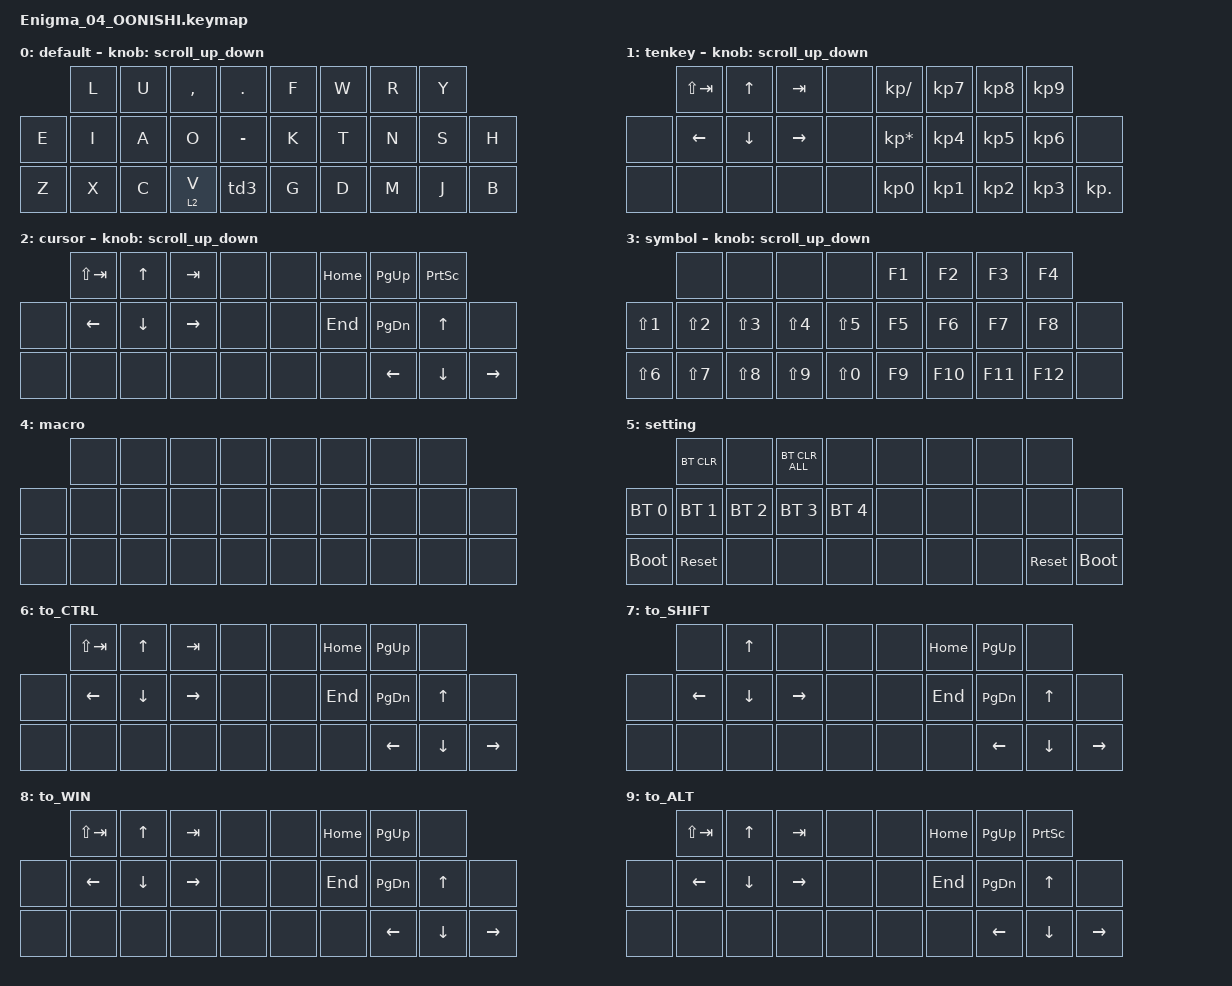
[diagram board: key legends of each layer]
#include <behaviors.dtsi>
#include <dt-bindings/zmk/bt.h>
#include <dt-bindings/zmk/keys.h>
#include <dt-bindings/zmk/pointing.h>

#undef ZMK_POINTING_DEFAULT_SCRL_VAL
#define ZMK_POINTING_DEFAULT_SCRL_VAL 100

/ {
    // zmk-listeners

    layer_listeners {
        compatible = "zmk,layer-listeners";

        release_ctrl {
            layers = <6>;
            bindings = <&kt_on LCTRL &kt_off LCTRL>;
        };

        release_shift {
            layers = <7>;
            bindings = <&kt_on LEFT_SHIFT &kt_off LEFT_SHIFT>;
        };

        release_win {
            layers = <8>;
            bindings = <&kt_on LEFT_WIN &kt_off LEFT_WIN>;
        };

        release_alt {
            layers = <9>;
            bindings = <&kt_on LEFT_ALT &kt_off LEFT_ALT>;
        };
    };

    macros {
        // zmk-listeners

        to_kp: to_kp {
            compatible = "zmk,behavior-macro-two-param";
            #binding-cells = <2>;
            bindings = <&macro_param_1to1 &to MACRO_PLACEHOLDER &macro_param_2to1 &kp MACRO_PLACEHOLDER>;
            label = "to_kp";
        };

        // zmk-listeners

        mo_to_0: mo_to_0 {
            compatible = "zmk,behavior-macro-one-param";
            wait-ms = <0>;
            tap-ms = <0>;
            #binding-cells = <1>;
            bindings =
                <&macro_press>,
                <&macro_param_1to1 &mo MACRO_PLACEHOLDER>,
                <&macro_tap>,
                <&macro_pause_for_release>,
                <&macro_release>,
                <&macro_param_1to1 &mo MACRO_PLACEHOLDER>,
                <&macro_tap>,
                <&to 0>;

            label = "MO_to_0";
        };
    };

    behaviors {
        // Layout shift

        original_key_press: original_key_press {
            compatible = "zmk,behavior-key-press";
            #binding-cells = <1>;
            label = "KEY_PRESS";
        };

        // Layout shift

        kp: key_press {
            compatible = "zmk,behavior-layout-shift-key-press";
            #binding-cells = <1>;
            label = "LAYOUT_SHIFT_KEY_PRESS";
        };

        // zmk-listeners

        kt_on: key_toggle_on_only {
            compatible = "zmk,behavior-key-toggle";
            #binding-cells = <1>;
            display-name = "Key Toggle On";
            toggle-mode = "on";
        };

        // zmk-listeners

        kt_off: key_toggle_off_only {
            compatible = "zmk,behavior-key-toggle";
            #binding-cells = <1>;
            display-name = "Key Toggle Off";
            toggle-mode = "off";
        };

        // zmk-listeners

        lt_to_0: lt_to_0 {
            compatible = "zmk,behavior-hold-tap";
            label = "LT_to_0";
            bindings = <&mo_to_0>, <&kp>;

            #binding-cells = <2>;
            tapping-term-ms = <200>;
            quick-tap-ms = <200>;
            flavor = "balanced";
        };

        // rotary encoder

        scroll_up_down: mouse_wheel_up_down {
            compatible = "zmk,behavior-sensor-rotate";
            #sensor-binding-cells = <0>;
            bindings = <&msc SCRL_UP>, <&msc SCRL_DOWN>;

            tap-ms = <50>;
        };

        // rotary encoder

        scroll_left_right: mouse_wheel_left_right {
            compatible = "zmk,behavior-sensor-rotate";
            #sensor-binding-cells = <0>;
            bindings = <&msc SCRL_LEFT>, <&msc SCRL_RIGHT>;

            tap-ms = <50>;
        };

        // rotary encoder

        arrow_left_right: arrow_left_right {
            compatible = "zmk,behavior-sensor-rotate";
            #sensor-binding-cells = <0>;
            bindings = <&kp LEFT>, <&kp RIGHT>;

            tap-ms = <50>;
        };

        // rotary encoder

        arrow_up_down: arrow_up_down {
            compatible = "zmk,behavior-sensor-rotate";
            #sensor-binding-cells = <0>;
            bindings = <&kp UP>, <&kp DOWN>;

            tap-ms = <50>;
        };

        // rotary encoder

        page_up_down: page_up_down {
            compatible = "zmk,behavior-sensor-rotate";
            #sensor-binding-cells = <0>;
            bindings = <&kp PAGE_UP>, <&kp PAGE_DOWN>;

            tap-ms = <50>;
        };

        td1: td_hz_mo_kn {
            compatible = "zmk,behavior-tap-dance";
            label = "TD_HZ_MO_KN";
            #binding-cells = <0>;
            bindings = <&lt 9 TILDE>;
        };

        td2: td_f7_mo_f8 {
            compatible = "zmk,behavior-tap-dance";
            label = "TD_F7_MO_F8";
            #binding-cells = <0>;
            bindings = <&lt 9 F7>, <&kp F8>;
        };

        td3: td_space_mo_slash {
            compatible = "zmk,behavior-tap-dance";
            label = "TD_SPACE_MO_SLASH";
            #binding-cells = <0>;
            bindings = <&lt 1 SPACE>, <&kp SLASH>;
        };

        td4: coron_semicoron {
            compatible = "zmk,behavior-tap-dance";
            label = "TD_COLON_SEMICOLON";
            #binding-cells = <0>;
            bindings = <&kp COLON>, <&kp SEMICOLON>;
        };

        Ctl: td_ctrl_toctrl {
            compatible = "zmk,behavior-tap-dance";
            label = "td_CTRL_TOCTRL";
            #binding-cells = <0>;
            bindings = <&kp LCTRL>, <&mo 6>;
        };

        WIN: td_win_towin {
            compatible = "zmk,behavior-tap-dance";
            label = "TD_WIN_TOWIN";
            #binding-cells = <0>;
            bindings = <&kp LEFT_WIN>, <&mo 8>;
        };

        Sft: td_shift_toshift {
            compatible = "zmk,behavior-tap-dance";
            label = "TD_SHIFT_TOSHIFT";
            #binding-cells = <0>;
            bindings = <&kp LEFT_SHIFT>, <&mo 7>;
        };

        ALT: td_alt_toalt {
            compatible = "zmk,behavior-tap-dance";
            label = "TD_ALT_TOALT";
            #binding-cells = <0>;
            bindings = <&kp LEFT_ALT>, <&mo 9>;
        };
    };

    combos {
        compatible = "zmk,combos";

        enter {
            bindings = <&kp ENTER>;
            key-positions = <15 16>;
            layers = <0 1 2 3 6 7 8 9>;
        };

        lt_backspace {
            bindings = <&lt 1 BACKSPACE>;
            key-positions = <6 7>;
            layers = <0 1 2 3>;
        };

        lt_delete {
            bindings = <&lt 3 DELETE>;
            key-positions = <5 7>;
            layers = <0 1 2 3>;
        };

        lt_f2 {
            bindings = <&lt 3 F2>;
            key-positions = <0 2>;
            layers = <0 1 2 3>;
        };

        td1 {
            bindings = <&td1>;
            key-positions = <0 1>;
            layers = <0 1 2 3>;
        };

        td2 {
            bindings = <&td2>;
            key-positions = <1 2>;
            layers = <0 1 2 3>;
        };

        td4 {
            bindings = <&td4>;
            key-positions = <21 22>;
            layers = <0>;
        };

        copy {
            bindings = <&kp LC(C)>;
            key-positions = <9 10>;
            layers = <0 1 2 3 6 7 8 9>;
        };

        paste {
            bindings = <&kp LC(V)>;
            key-positions = <10 11>;
            layers = <0 1 2 3 6 7 8 9>;
        };

        cut {
            bindings = <&kp LC(X)>;
            key-positions = <9 11>;
            layers = <0 1 2 3 6 7 8 9>;
        };

        select {
            bindings = <&kp LC(A)>;
            key-positions = <8 9>;
            layers = <0 1 2 3>;
        };

        p {
            bindings = <&kp P>;
            key-positions = <7 17>;
            layers = <0>;
        };

        q {
            bindings = <&kp Q>;
            key-positions = <0 8>;
            layers = <0>;
        };

        hyphen {
            bindings = <&kp MINUS>;
            key-positions = <4 5>;
            layers = <0>;
        };

        atsign {
            bindings = <&kp AT_SIGN>;
            key-positions = <13 14>;
            layers = <0>;
        };

        ro {
            bindings = <&kp INTERNATIONAL_1>;
            key-positions = <23 24>;
            layers = <0>;
        };

        minus {
            bindings = <&kp KP_MINUS>;
            key-positions = <4 5>;
            layers = <1>;
        };

        plus {
            bindings = <&kp KP_PLUS>;
            key-positions = <13 14>;
            layers = <1>;
        };

        equal {
            bindings = <&kp KP_EQUAL>;
            key-positions = <11 12>;
            layers = <0 1>;
        };

        lshift {
            bindings = <&Sft>;
            key-positions = <8 18>;
            layers = <0 1 2 3>;
        };

        rshift {
            bindings = <&Sft>;
            key-positions = <17 27>;
            layers = <0 1 2 3>;
        };

        lctrl {
            bindings = <&Ctl>;
            key-positions = <18 19>;
            layers = <0 1 2 3>;
        };

        rctrl {
            bindings = <&Ctl>;
            key-positions = <27 26>;
            layers = <0 1 2 3>;
        };

        lwin {
            bindings = <&WIN>;
            key-positions = <19 20>;
            layers = <0 1 2 3>;
        };

        rwin {
            bindings = <&WIN>;
            key-positions = <26 25>;
            layers = <0 1 2 3>;
        };

        lalt {
            bindings = <&ALT>;
            key-positions = <20 18>;
            layers = <0 1 2 3>;
        };

        ralt {
            bindings = <&ALT>;
            key-positions = <25 27>;
            layers = <0 1 2 3>;
        };

        lsetting {
            bindings = <&mo 5>;
            key-positions = <20 21 22>;
        };

        rsetting {
            bindings = <&mo 5>;
            key-positions = <23 24 25>;
        };
    };

    keymap {
        compatible = "zmk,keymap";

        default {
            bindings = <
       &kp L  &kp U  &kp COMMA  &kp DOT      &kp F  &kp W  &kp R  &kp Y
&kp E  &kp I  &kp A  &kp O      &kp MINUS    &kp K  &kp T  &kp N  &kp S  &kp H
&kp Z  &kp X  &kp C  &lt 2 V    &td3         &kp G  &kp D  &kp M  &kp J  &kp B
            >;

            sensor-bindings = <&scroll_up_down>;
        };

        tenkey {
            bindings = <
       &kp LS(TAB)  &kp UP    &kp TAB    &none  &kp KP_SLASH     &kp KP_N7  &kp KP_N8  &kp KP_N9
&none  &kp LEFT     &kp DOWN  &kp RIGHT  &none  &kp KP_ASTERISK  &kp KP_N4  &kp KP_N5  &kp KP_N6  &none
&none  &none        &none     &none      &none  &kp KP_N0        &kp KP_N1  &kp KP_N2  &kp KP_N3  &kp KP_DOT
            >;

            sensor-bindings = <&scroll_up_down>;
        };

        cursor {
            bindings = <
       &kp LS(TAB)     &kp UP          &kp TAB          &none  &none  &kp HOME  &kp PAGE_UP    &kp PRINTSCREEN
&none  &kp LEFT        &kp DOWN        &kp RIGHT        &none  &none  &kp END   &kp PAGE_DOWN  &kp UP           &none
&none  &none           &none           &none            &none  &none  &none     &kp LEFT       &kp DOWN         &kp RIGHT
            >;

            sensor-bindings = <&scroll_up_down>;
        };

        symbol {
            bindings = <
            &none       &none       &none       &none       &kp F1  &kp F2   &kp F3   &kp F4
&kp LS(N1)  &kp LS(N2)  &kp LS(N3)  &kp LS(N4)  &kp LS(N5)  &kp F5  &kp F6   &kp F7   &kp F8   &none
&kp LS(N6)  &kp LS(N7)  &kp LS(N8)  &kp LS(N9)  &kp LS(N0)  &kp F9  &kp F10  &kp F11  &kp F12  &none
            >;

            sensor-bindings = <&scroll_up_down>;
        };

        macro {
            bindings = <
       &none  &none  &none  &none  &none  &none  &none  &none
&none  &none  &none  &none  &none  &none  &none  &none  &none  &none
&none  &none  &none  &none  &none  &none  &none  &none  &none  &none
            >;
        };

        setting {
            bindings = <
              &bt BT_CLR    &none         &bt BT_CLR_ALL  &none         &none  &none  &none  &none
&bt BT_SEL 0  &bt BT_SEL 1  &bt BT_SEL 2  &bt BT_SEL 3    &bt BT_SEL 4  &none  &none  &none  &none       &none
&bootloader   &sys_reset    &none         &none           &none         &none  &none  &none  &sys_reset  &bootloader
            >;
        };

        to_CTRL {
            bindings = <
       &kp LS(TAB)  &kp UP    &kp TAB    &none  &none  &kp HOME  &kp PAGE_UP    &none
&none  &kp LEFT     &kp DOWN  &kp RIGHT  &none  &none  &kp END   &kp PAGE_DOWN  &kp UP    &none
&none  &none        &none     &none      &none  &none  &none     &kp LEFT       &kp DOWN  &kp RIGHT
            >;
        };

        to_SHIFT {
            bindings = <
       &none     &kp UP    &none      &none  &none  &kp HOME  &kp PAGE_UP    &none
&none  &kp LEFT  &kp DOWN  &kp RIGHT  &none  &none  &kp END   &kp PAGE_DOWN  &kp UP    &none
&none  &none     &none     &none      &none  &none  &none     &kp LEFT       &kp DOWN  &kp RIGHT
            >;
        };

        to_WIN {
            bindings = <
       &kp LS(TAB)  &kp UP    &kp TAB    &none  &none  &kp HOME  &kp PAGE_UP    &none
&none  &kp LEFT     &kp DOWN  &kp RIGHT  &none  &none  &kp END   &kp PAGE_DOWN  &kp UP    &none
&none  &none        &none     &none      &none  &none  &none     &kp LEFT       &kp DOWN  &kp RIGHT
            >;
        };

        to_ALT {
            bindings = <
       &kp LS(TAB)  &kp UP    &kp TAB    &none  &none  &kp HOME  &kp PAGE_UP    &kp PRINTSCREEN
&none  &kp LEFT     &kp DOWN  &kp RIGHT  &none  &none  &kp END   &kp PAGE_DOWN  &kp UP           &none
&none  &none        &none     &none      &none  &none  &none     &kp LEFT       &kp DOWN         &kp RIGHT
            >;
        };
    };
};
